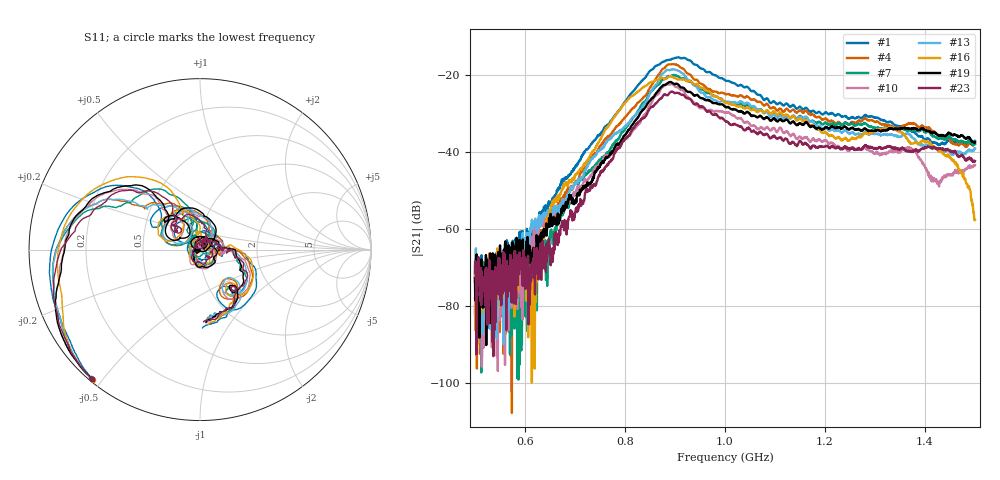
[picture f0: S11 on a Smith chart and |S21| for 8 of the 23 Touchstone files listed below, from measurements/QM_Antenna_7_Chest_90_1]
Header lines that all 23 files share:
!Agilent Technologies,E8364B,US42250235,A.06.04.32
!Agilent E8364B: A.06.04.32
!Correction: S11(Full 2 Port(1,2)) S21(Full 2 Port(1,2)) S12(Full 2 Port(1,2)) S22(Full 2 Port(1,2))
!S2P File: Measurements: S11, S21, S12, S22:
# Hz S  dB  R 50
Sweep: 500 MHz to 1.5 GHz
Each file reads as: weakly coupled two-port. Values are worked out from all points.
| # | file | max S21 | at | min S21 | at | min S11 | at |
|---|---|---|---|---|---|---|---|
| 1 | 0_2.s2p | -15.40 dB | 905.6 MHz | -83.3 dB | 512.5 MHz | -41.5 dB | 918.1 MHz |
| 2 | 0_3.s2p | -16.65 dB | 886.9 MHz | -113.7 dB | 513.8 MHz | -65.6 dB | 1.106 GHz |
| 3 | 0_4.s2p | -15.37 dB | 905.6 MHz | -99.3 dB | 522.5 MHz | -55.5 dB | 883.1 MHz |
| 4 | 0_5.s2p | -17.21 dB | 894.4 MHz | -107.7 dB | 573.8 MHz | -37.7 dB | 1.117 GHz |
| 5 | 0_6.s2p | -18.53 dB | 886.9 MHz | -93.6 dB | 575 MHz | -53.8 dB | 896.2 MHz |
| 6 | 0_7.s2p | -19.48 dB | 888.8 MHz | -97.4 dB | 526.2 MHz | -37.5 dB | 918.1 MHz |
| 7 | 0_8.s2p | -19.99 dB | 898.1 MHz | -99.0 dB | 586.9 MHz | -36.0 dB | 1.114 GHz |
| 8 | 0_9.s2p | -21.01 dB | 887.5 MHz | -93.9 dB | 546.9 MHz | -55.4 dB | 900.6 MHz |
| 9 | 1_2.s2p | -22.18 dB | 892.5 MHz | -94.3 dB | 519.4 MHz | -30.7 dB | 863.1 MHz |
| 10 | 1_4.s2p | -22.35 dB | 894.4 MHz | -96.8 dB | 545.6 MHz | -65.2 dB | 1.141 GHz |
| 11 | 1_5.s2p | -23.84 dB | 895.6 MHz | -97.4 dB | 530.6 MHz | -44.6 dB | 898.8 MHz |
| 12 | 1_6.s2p | -24.94 dB | 898.1 MHz | -91.5 dB | 501.9 MHz | -63.0 dB | 886.9 MHz |
| 13 | 2_3.s2p | -18.51 dB | 894.4 MHz | -89.9 dB | 556.9 MHz | -46.2 dB | 865.6 MHz |
| 14 | 2_4.s2p | -20.44 dB | 894.4 MHz | -93.2 dB | 507.5 MHz | -44.2 dB | 1.113 GHz |
| 15 | 2_6.s2p | -22.68 dB | 894.4 MHz | -93.6 dB | 516.9 MHz | -46.4 dB | 899.4 MHz |
| 16 | 4_1.s2p | -20.35 dB | 891.2 MHz | -99.8 dB | 613.8 MHz | -31.2 dB | 962.5 MHz |
| 17 | 4_2.s2p | -21.59 dB | 886.2 MHz | -79.1 dB | 502.5 MHz | -42.4 dB | 949.4 MHz |
| 18 | 4_3.s2p | -19.20 dB | 888.8 MHz | -101.6 dB | 614.4 MHz | -39.0 dB | 856.9 MHz |
| 19 | 4_4.s2p | -21.80 dB | 890.6 MHz | -90.1 dB | 522.5 MHz | -52.2 dB | 1.114 GHz |
| 20 | 4_5.s2p | -21.80 dB | 892.5 MHz | -93.2 dB | 587.5 MHz | -57.8 dB | 899.4 MHz |
| 21 | 5_1.s2p | -27.42 dB | 893.1 MHz | -93.9 dB | 625.6 MHz | -46.0 dB | 879.4 MHz |
| 22 | 5_2.s2p | -24.09 dB | 891.9 MHz | -98.1 dB | 551.9 MHz | -39.9 dB | 1.063 GHz |
| 23 | 5_6.s2p | -24.30 dB | 893.8 MHz | -93.0 dB | 536.9 MHz | -43.4 dB | 893.1 MHz |
